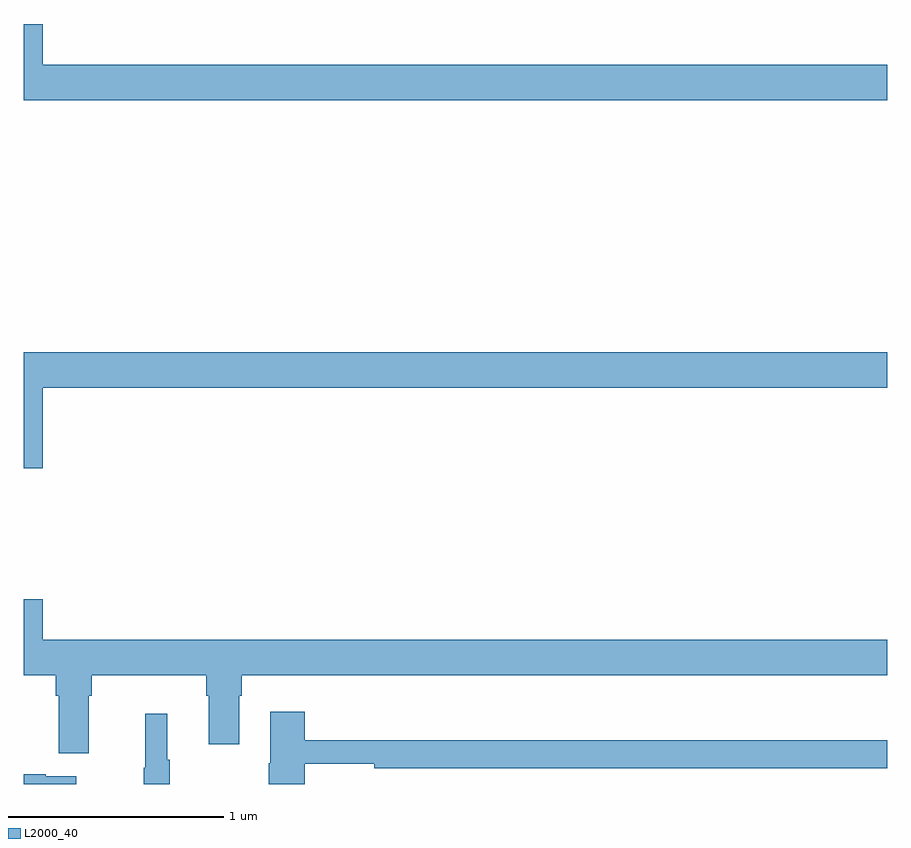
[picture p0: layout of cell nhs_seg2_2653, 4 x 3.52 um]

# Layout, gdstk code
import gdstk
lib = gdstk.Library(unit=1e-6, precision=1e-09)
def P(c, l, *ps):  # polygons
    for p in ps: c.add(gdstk.Polygon(p, *l))
L2000_40 = (2000, 40)

nhs_seg2_2653 = lib.new_cell('nhs_seg2_2653')
P(nhs_seg2_2653, L2000_40, [(253,649.132),(249.088,649.132),(249.088,649.321),(249,649.321),(249,648.968),(253,648.968)],
  [(249.088,647.636),(253,647.636),(253,647.8),(249,647.8),(249,647.262),(249.088,647.262)],
  [(249.301,646.208),(249.314,646.208),(249.314,646.304),(249.845,646.304),(249.845,646.208),(249.857,646.208),(249.857,645.984),(249.997,645.984),(249.997,646.208),(250.01,646.208),(250.01,646.304),(253,646.304),(253,646.468),(249.088,646.468),(249.088,646.657),(249,646.657),(249,646.304),(249.149,646.304),(249.149,646.208),(249.161,646.208),(249.161,645.942),(249.301,645.942)],
  [(250.301,645.894),(250.624,645.894),(250.624,645.874),(253,645.874),(253,646.003),(250.301,646.003),(250.301,646.135),(250.142,646.135),(250.142,645.897),(250.135,645.897),(250.135,645.8),(250.301,645.8)],
  [(249.676,645.913),(249.665,645.913),(249.665,646.126),(249.562,646.126),(249.562,645.876),(249.555,645.876),(249.555,645.8),(249.676,645.8)],
  [(249.244,645.835),(249.101,645.835),(249.101,645.845),(249,645.845),(249,645.8),(249.244,645.8)])

lib.write_gds('nhs_seg2_2653.gds')
